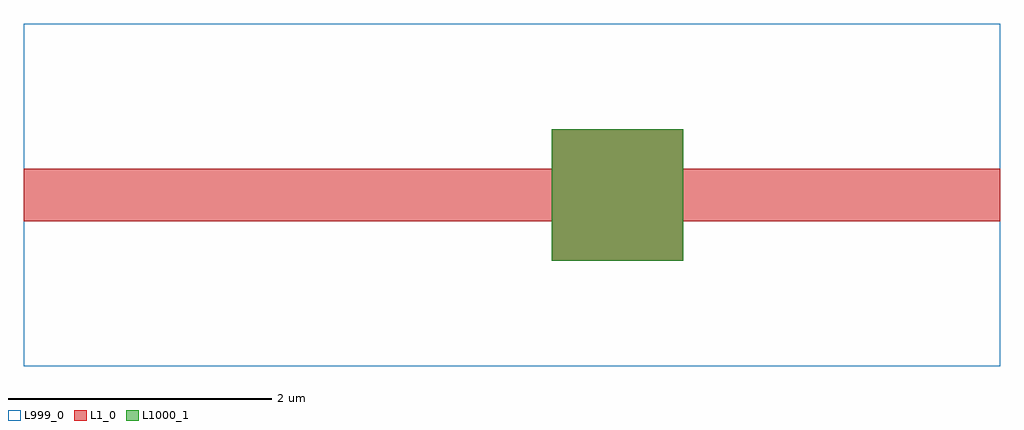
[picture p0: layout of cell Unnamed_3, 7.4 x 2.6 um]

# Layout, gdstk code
from math import pi, radians
import gdstk
lib = gdstk.Library(unit=1e-6, precision=1e-09)
def R(c, l, rs):  # rectangles x0, y0, x1, y1
    for r in rs: c.add(gdstk.rectangle(r[:2], r[2:], *l))
L1_0 = (1, 0)
L999_0 = (999, 0)
L1000_1 = (1000, 1)

bbox_cextend_ports_cext_ = lib.new_cell('bbox_Cextend_ports_Cext_46eee7e9')
R(bbox_cextend_ports_cext_, L999_0, [(-4,-0.8,3.4,1.8)])

taper_l1p6_w0p4_w0p4_pn_ = lib.new_cell('taper_L1p6_W0p4_W0p4_PN_90f1bfa2')
R(taper_l1p6_w0p4_w0p4_pn_, L1_0, [(0,-0.2,1.6,0.2)])

unnamed_0 = lib.new_cell('Unnamed_0')
R(unnamed_0, L1000_1, [(0,0,1,1)])

unnamed_1_1 = lib.new_cell('Unnamed_1$1')
R(unnamed_1_1, L1_0, [(0,0,1,1)])
unnamed_1_1.add(gdstk.Reference(taper_l1p6_w0p4_w0p4_pn_, (-1.6,0.5)))
unnamed_1_1.add(gdstk.Reference(taper_l1p6_w0p4_w0p4_pn_, (2.6,0.5), rotation=pi))
unnamed_1_1.add(gdstk.Reference(unnamed_0, (0,0)))

straight_l0p8_n2_csxs_fa = lib.new_cell('straight_L0p8_N2_CSxs_fafe81a4')
R(straight_l0p8_n2_csxs_fa, L1_0, [(0,-0.2,0.8,0.2)])

extend_ports_cunnamed_1_ = lib.new_cell('extend_ports_CUnnamed_1_18049ea1')
extend_ports_cunnamed_1_.add(gdstk.Reference(unnamed_1_1, (0,0)))
extend_ports_cunnamed_1_.add(gdstk.Reference(straight_l0p8_n2_csxs_fa, (2.6,0.5)))

straight_l2p40000000000_ = lib.new_cell('straight_L2p40000000000_82a3e040')
R(straight_l2p40000000000_, L1_0, [(0,-0.2,2.4,0.2)])

extend_ports_cextend_po_ = lib.new_cell('extend_ports_Cextend_po_b8efefed')
extend_ports_cextend_po_.add(gdstk.Reference(extend_ports_cunnamed_1_, (0,0)))
extend_ports_cextend_po_.add(gdstk.Reference(straight_l2p40000000000_, (-1.6,0.5), rotation=pi))

unnamed_3 = lib.new_cell('Unnamed_3')
unnamed_3.add(gdstk.Reference(bbox_cextend_ports_cext_, (0,0)))
unnamed_3.add(gdstk.Reference(extend_ports_cextend_po_, (0,0)))

lib.write_gds('Unnamed_3.gds')
